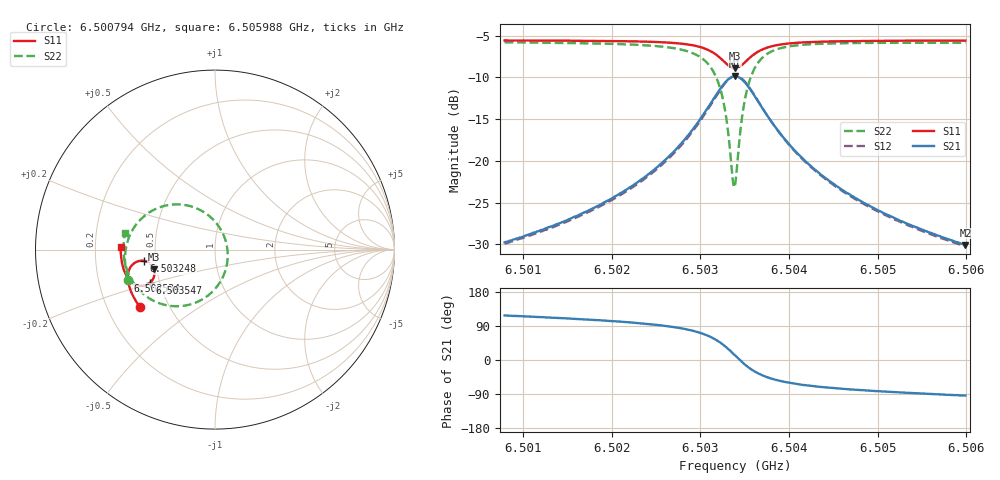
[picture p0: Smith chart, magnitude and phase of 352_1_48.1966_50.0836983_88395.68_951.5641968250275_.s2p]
#  HZ  S  RI  R  50.00
! Rohde & Schwarz Vector Network Analyzer
! Rohde-Schwarz,ZNB20-2Port,1311601062101988,3.16
! Created: UTC 3/20/2024, 11:51:50 AM
! freq[Hz]  re:S11  im:S11  re:S21  im:S21  re:S12  im:S12  re:S22  im:S22
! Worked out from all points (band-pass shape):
!   401 points, 6.500794 GHz to 6.505988 GHz, reference 50 ohm
!   highest |S21| = -9.88 dB at 6.503391 GHz (marker M1); lowest = -30.1 dB at 6.505988 GHz (marker M2)
!   |S21| within 3 dB of the highest: 6.503131 GHz to 6.503651 GHz (520 kHz wide, 0.008 % of centre)
!   lowest |S11| = -8.9 dB at 6.503391 GHz (marker M3), VSWR 2.11, Z = 24.1 - j6.1 ohm
!   |S11| at or under -10 dB: nowhere
!   |S22| runs from -23.2 to -5.8 dB; largest |S21 - S12| = 0.011
!   S11 on the Smith chart (normalised r, x): 6.500794 GHz: 0.34, -0.30; 6.502534 GHz: 0.33, -0.15; 6.503248 GHz: 0.43, -0.06; 6.503547 GHz: 0.44, -0.20; 6.505988 GHz: 0.31, +0.01
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6.500794e9  -0.419 -0.3188  -0.0151 0.0288  -0.0133 0.029  -0.4852 -0.1683
6.5016639e9  -0.4576 -0.2558  -0.0145 0.0461  -0.0122 0.0457  -0.5009 -0.0783
6.5021573e9  -0.4755 -0.2128  -0.0116 0.0656  -0.00876 0.0646  -0.4991 -0.01
6.5025338e9  -0.4848 -0.1721  -0.00337 0.0936  0.000173 0.0914  -0.4816 0.0626
6.5027935e9  -0.4847 -0.1355  0.0151 0.1276  0.0188 0.1239  -0.4429 0.1349
6.5029753e9  -0.4738 -0.1024  0.049 0.1632  0.0523 0.1579  -0.376 0.2004
6.5031441e9  -0.4397 -0.0693  0.1251 0.1962  0.1264 0.1899  -0.2364 0.2512
6.503248e9  -0.3978 -0.0622  0.209 0.188  0.2092 0.1826  -0.0906 0.2245
6.5032999e9  -0.3728 -0.0705  0.2565 0.1607  0.2573 0.156  -0.0117 0.1688
6.5033648e9  -0.3467 -0.0961  0.3035 0.0986  0.3058 0.0936  0.0593 0.0496
6.5033908e9  -0.3403 -0.1103  0.3135 0.0673  0.3167 0.0615  0.0703 -0.00893
6.5034038e9  -0.3383 -0.1178  0.3163 0.0509  0.3195 0.0447  0.0709 -0.0388
6.5034557e9  -0.3392 -0.1481  0.3111 -0.0133  0.3139 -0.0218  0.044 -0.1526
6.5034817e9  -0.3442 -0.1618  0.3003 -0.0418  0.3021 -0.0513  0.0153 -0.2005
6.5035466e9  -0.3648 -0.1869  0.2587 -0.0949  0.2575 -0.1058  -0.0784 -0.2817
6.5036505e9  -0.4034 -0.2016  0.1859 -0.1307  0.1806 -0.1397  -0.2246 -0.3155
6.5038192e9  -0.4486 -0.192  0.1062 -0.1281  0.0994 -0.1329  -0.3683 -0.2705
6.504001e9  -0.4758 -0.1705  0.0627 -0.1088  0.0566 -0.1108  -0.4387 -0.207
6.5042607e9  -0.4961 -0.1405  0.0332 -0.0852  0.0286 -0.0857  -0.4815 -0.1359
6.5046372e9  -0.5114 -0.1018  0.0149 -0.0632  0.0118 -0.063  -0.5033 -0.0639
6.5051306e9  -0.5211 -0.0567  0.00498 -0.0466  0.00272 -0.046  -0.5096 0.0039
6.5059876e9  -0.5257 0.0152  -0.00208 -0.0313  -0.00346 -0.0306  -0.5014 0.0926
